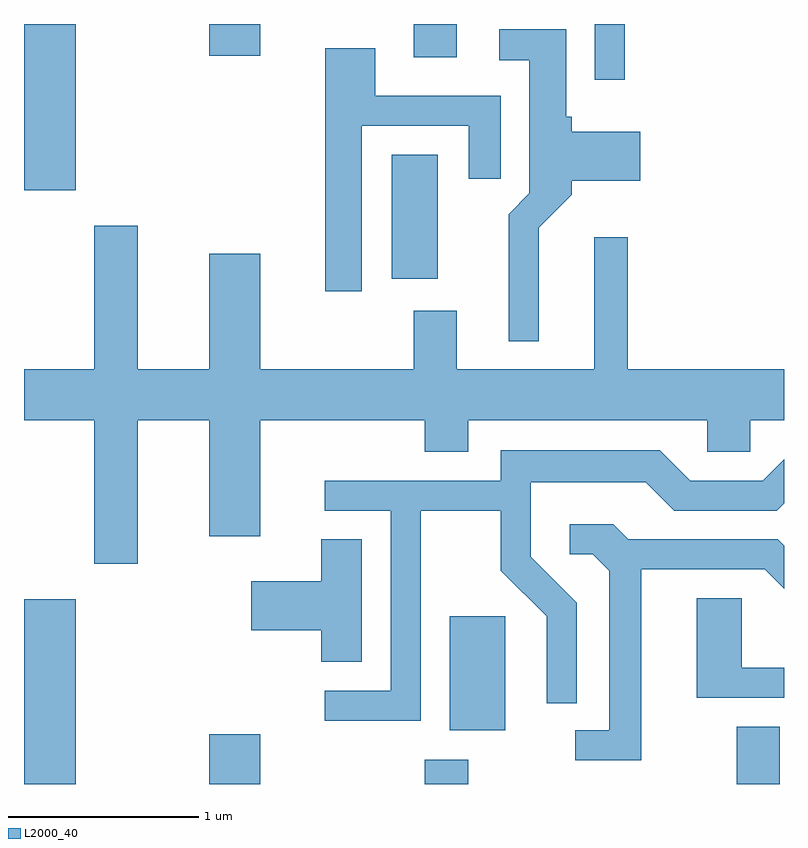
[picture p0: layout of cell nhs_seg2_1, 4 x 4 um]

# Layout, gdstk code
import gdstk
lib = gdstk.Library(unit=1e-6, precision=1e-09)
def R(c, l, rs):  # rectangles x0, y0, x1, y1
    for r in rs: c.add(gdstk.rectangle(r[:2], r[2:], *l))
def P(c, l, *ps):  # polygons
    for p in ps: c.add(gdstk.Polygon(p, *l))
L2000_40 = (2000, 40)

nhs_seg2_1 = lib.new_cell('nhs_seg2_1')
R(nhs_seg2_1, L2000_40, [(185.611,979.802,185.884,980.774), (186.586,979.802,186.854,980.064), (187.721,979.802,187.949,979.929), (189.361,979.802,189.589,980.104), (187.851,980.086,188.144,980.684), (187.546,982.461,187.789,983.114), (185.611,982.926,185.884,983.802), (188.616,983.508,188.774,983.802), (187.661,983.626,187.889,983.802), (186.586,983.636,186.854,983.802)])
P(nhs_seg2_1, L2000_40, [(188.319,982.729),(188.494,982.904),(188.494,982.976),(188.854,982.976),(188.854,983.234),(188.494,983.234),(188.494,983.314),(188.464,983.314),(188.464,983.774),(188.113,983.774),(188.113,983.611),(188.271,983.611),(188.271,982.912),(188.161,982.802),(188.161,982.133),(188.319,982.133)],
  [(187.389,983.266),(187.951,983.266),(187.951,982.988),(188.119,982.988),(188.119,983.424),(187.459,983.424),(187.459,983.674),(187.196,983.674),(187.196,982.396),(187.389,982.396)],
  [(186.209,981.716),(186.586,981.716),(186.586,981.106),(186.854,981.106),(186.854,981.716),(187.721,981.716),(187.721,981.551),(187.949,981.551),(187.949,981.716),(189.206,981.716),(189.206,981.551),(189.434,981.551),(189.434,981.716),(189.611,981.716),(189.611,981.984),(188.789,981.984),(188.789,982.679),(188.611,982.679),(188.611,981.984),(187.889,981.984),(187.889,982.294),(187.661,982.294),(187.661,981.984),(186.854,981.984),(186.854,982.594),(186.586,982.594),(186.586,981.984),(186.209,981.984),(186.209,982.739),(185.981,982.739),(185.981,981.984),(185.611,981.984),(185.611,981.716),(185.981,981.716),(185.981,980.961),(186.209,980.961)],
  [(187.699,981.241),(188.121,981.241),(188.121,980.924),(188.361,980.684),(188.361,980.228),(188.519,980.228),(188.519,980.757),(188.279,980.997),(188.279,981.391),(188.884,981.391),(189.034,981.241),(189.572,981.241),(189.611,981.28),(189.611,981.511),(189.499,981.399),(189.117,981.399),(188.957,981.559),(188.121,981.559),(188.121,981.399),(187.193,981.399),(187.193,981.241),(187.541,981.241),(187.541,980.294),(187.193,980.294),(187.193,980.136),(187.699,980.136)],
  [(188.859,980.931),(189.509,980.931),(189.611,980.829),(189.611,981.055),(189.577,981.089),(188.792,981.089),(188.712,981.169),(188.483,981.169),(188.483,981.011),(188.604,981.011),(188.691,980.924),(188.691,980.084),(188.513,980.084),(188.513,979.926),(188.859,979.926)],
  [(187.389,981.089),(187.176,981.089),(187.176,980.869),(186.806,980.869),(186.806,980.611),(187.176,980.611),(187.176,980.446),(187.389,980.446)],
  [(189.611,980.414),(189.389,980.414),(189.389,980.779),(189.151,980.779),(189.151,980.256),(189.611,980.256)])

lib.write_gds('nhs_seg2_1.gds')
